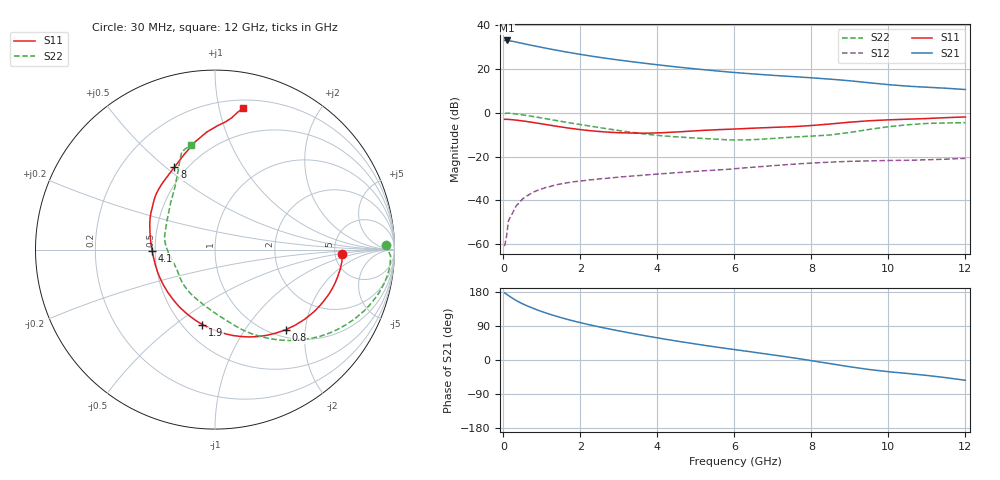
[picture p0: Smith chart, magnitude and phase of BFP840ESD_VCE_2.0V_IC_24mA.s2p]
! Infineon Technologies  Discrete & RF Semiconductors
! BFP840ESD
! VCE =  2.0 V,  IC =  24 mA
! Common Emitter S-Parameters:  May 2012
# GHz  S  MA  R  50
!  f  S11  S21  S12  S22
! GHz  MAG  ANG  MAG  ANG  MAG  ANG  MAG  ANG
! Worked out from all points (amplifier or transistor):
!   93 points, 30 MHz to 12 GHz, reference 50 ohm
!   highest |S21| = 33.0 dB at 80 MHz (marker M1)
!   |S21| within 3 dB of that: start of sweep to 948.9 MHz
!   unconditionally stable (mu >= 1): 4.714 GHz to 7.879 GHz
!   at 1.1 GHz: K = 0.45, MSG = 31.8 dB, |S12| = -34.1 dB
!   at 4.2 GHz: K = 0.97, MSG = 24.6 dB, |S12| = -27.7 dB
!   at 12 GHz: K = 0.73, MSG = 15.7 dB, |S12| = -20.8 dB
!   S11 on the Smith chart (normalised r, x): 30 MHz: 5.82, -0.52; 800 MHz: 1.14, -1.58; 1.9 GHz: 0.62, -0.63; 4.1 GHz: 0.48, -0.01; 8 GHz: 0.43, +0.54; 12 GHz: 0.27, +1.18
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0.03  0.7088 -1.8  44.76 177.2  0.0009 85.8  0.9516 1.7
0.08  0.7104 -5.2  44.82 173.6  0.0015 92.8  0.9792 -2.1
0.23  0.6946 -15.5  42.91 163.3  0.005 76.8  0.9628 -10.8
0.38  0.6713 -24.9  40.29 154.3  0.0083 74.9  0.9275 -17.7
0.5  0.6516 -32.0  38.3 148.1  0.0108 71.6  0.896 -22.6
0.6  0.6332 -37.7  36.64 143.5  0.0125 68.0  0.8687 -26.4
0.8  0.5955 -48.6  33.7 135.2  0.0158 63.5  0.8132 -33.3
1  0.5578 -58.9  31.08 127.7  0.0183 59.6  0.7591 -39.5
1.3  0.5053 -73.4  27.64 117.7  0.0219 54.8  0.6822 -47.7
1.6  0.46 -86.8  24.75 108.9  0.0247 50.5  0.6144 -54.9
1.9  0.4233 -99.6  22.28 100.9  0.0271 47.2  0.5556 -61.3
2.1  0.4028 -107.7  20.86 96.1  0.0282 45.3  0.521 -65.3
2.5  0.3735 -123.2  18.43 87.1  0.031 42.8  0.4583 -72.6
2.9  0.3545 -138.1  16.45 78.8  0.0333 41.0  0.405 -80.0
3.5  0.3433 -159.2  14.08 67.3  0.0367 38.9  0.3427 -92.7
4.1  0.3499 -178.9  12.19 56.7  0.0404 36.6  0.2998 -107.5
5  0.3874 159.8  10.04 42.1  0.046 33.2  0.2648 -129.7
6.1  0.4293 143.4  8.185 26.2  0.0537 30.1  0.2399 -155.3
8  0.5119 116.2  6.291 -1.8  0.071 18.0  0.2929 162.5
8.5  0.5564 108.1  5.85 -9.8  0.0747 13.8  0.3124 148.9
10.5  0.7139 85.3  4.055 -35.6  0.0824 -1.7  0.5324 111.6
12  0.8032 78.7  3.396 -53.5  0.0909 -9.4  0.5957 102.9
